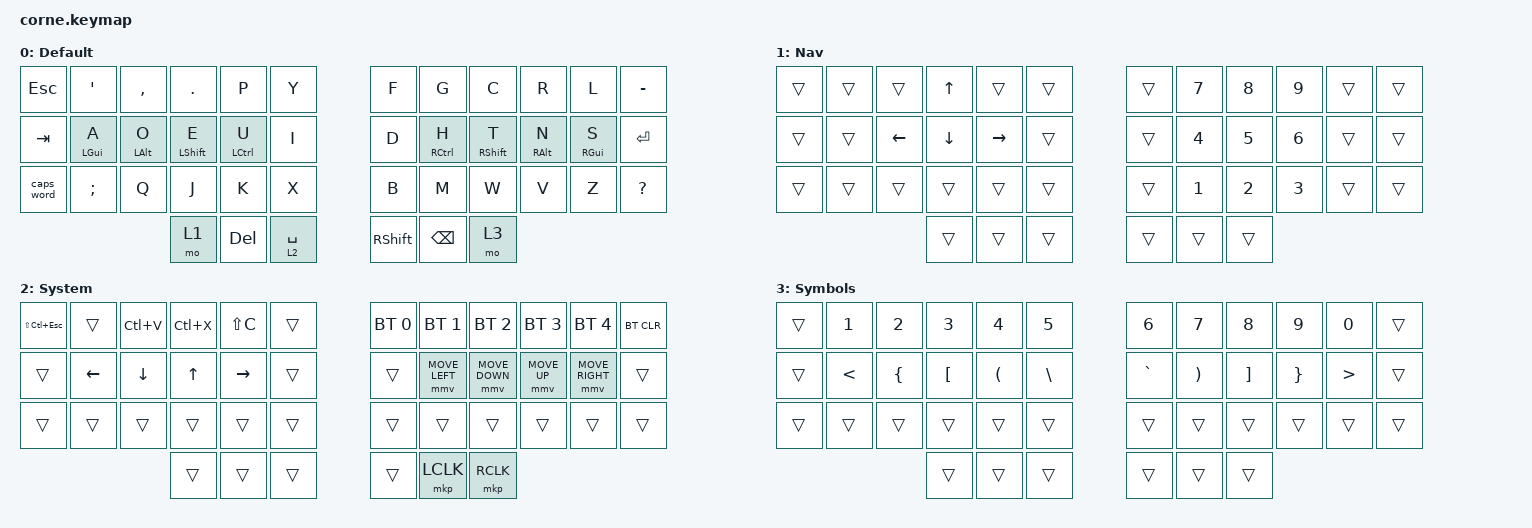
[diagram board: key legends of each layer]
#include <behaviors.dtsi>
#include <dt-bindings/zmk/bt.h>
#include <dt-bindings/zmk/keys.h>


// ------------------------------------------------------------------------------------------------------------
//	|	0		|	1		|	2		|	3		|	4		|	5		|		|	6		|	7		|	8		|	9		|	10	|	11	|	
//	|	12	|	13	|	14	|	15	|	16	|	17	|		|	18	|	19	|	20	|	21	|	22	|	23	|	
//	|	24	|	25	|	26	|	27	|	28	|	29	|		|	30	|	31	|	32	|	33	|	34	|	35	|	
//										|	36	|	37	|	38	|		| 39	|	40	|	41  |

/ {
    behaviors {
        hml: homewrow_mods_left {
            compatible = "zmk,behavior-hold-tap";
            label = "HOMEROW_MODS_LEFT_HAND";
            bindings = <&kp>, <&kp>;

            #binding-cells = <2>;
            tapping-term-ms = <250>;
            hold-trigger-key-positions = <6 7 8 9 10 11 18 19 20 21 22 23 30 31 32 33 34 35>;
            flavor = "balanced";
            quick-tap-ms = <175>;
            hold-trigger-on-release;
        };

        hmr: homewrow_mods_right {
            compatible = "zmk,behavior-hold-tap";
            label = "HOMEREOW_MODS_RIGHT";
            bindings = <&kp>, <&kp>;

            #binding-cells = <2>;
            tapping-term-ms = <250>;
            hold-trigger-key-positions = <0 1 2 3 4 5 12 13 14 15 16 17 24 25 26 27 28 29>;
            quick-tap-ms = <175>;
            hold-trigger-on-release;
            flavor = "balanced";
        };

        layr: layr {
            compatible = "zmk,behavior-hold-tap";
            label = "LAYR";
            bindings = <&mo>, <&kp>;

            #binding-cells = <2>;
            tapping-term-ms = <200>;
            hold-trigger-key-positions = <0 1 2 3 4 5 6 7 8 9 10 11 12 13 14 15 16 17 18 19 20 21 22 23 24 25 26 27 28 29 30 31 32 33 34 35>;
        };
    };
		
    keymap {
        compatible = "zmk,keymap";

        Default {
						display-name = "Default";
// ------------------------------------------------------------------------------------------------------------
//   |  ESC  |   '   |   .   |   .   |   P   |   Y   |			|   F   |   G   |   C   |   R   |   L   |   -  |
//   |  TAB  |   A   |   O   |   E   |   U   |   I   |			|   D   |   H   |   T   |   N   |   S   |  ENT |
//   |  ESC  |   ;   |   Q   |   J   |   K   |   X   |			|   B   |   M   |   W   |   V   |   Z   |   ?  |
//													 |  MO1  |  DEL  | SPACE |			| SHIFT |  BAK  |  MO3  |
            bindings = <
	&kp ESC  &kp SQT  &kp COMMA  &kp PERIOD  &kp P  &kp Y			&kp F  &kp G  &kp C  &kp R  &kp L  &kp MINUS  
  &kp TAB  	&hml LGUI A  &hml LALT O  &hml LSHFT E  &hml LCTRL U  &kp I			&kp D  &hmr RCTRL H  &hmr RSHFT T  &hmr RALT N  &hmr RGUI S &kp ENTER
	&caps_word  &kp SEMI  &kp Q 		  &kp J	&kp K   &kp X			&kp B  &kp M  &kp W  &kp V  &kp Z  &kp QUESTION  
													&mo 1  &kp DEL  &layr 2 SPACE			&kp RIGHT_SHIFT  &kp BACKSPACE  &mo 3
            >;
				};

        nav {
						display-name = "Nav";
            bindings = <
	&trans  &trans  &trans    &kp UP    &trans     &trans			&trans  &kp N7  &kp N8  &kp N9  &trans  &trans
	&trans  &trans  &kp LEFT  &kp DOWN  &kp RIGHT  &trans			&trans  &kp N4  &kp N5  &kp N6  &trans  &trans
	&trans  &trans  &trans    &trans    &trans     &trans			&trans  &kp N1  &kp N2  &kp N3  &trans  &trans
														&trans    &trans     &trans			&trans  &trans  &trans
            >;
        };
				
        System {
            display-name = "System";
						bindings = <
&kp LS(LC(ESC))	&trans	&kp LC(V)	&kp LC(X)	&kp LS(C)	&trans			&bt BT_SEL 0	&bt BT_SEL 1	&bt BT_SEL 2	&bt BT_SEL 3	&bt BT_SEL 4	&bt BT_CLR
&trans	&kp LEFT	&kp DOWN	&kp UP_ARROW		&kp RIGHT	&trans			&trans	&mmv MOVE_LEFT	&mmv MOVE_DOWN	&mmv MOVE_UP	&mmv MOVE_RIGHT	&trans
&trans	&trans		&trans		&trans					&trans		&trans			&trans	&trans	&trans	&trans	&trans	&trans
                                   &trans		&trans		&trans			&trans		&mkp LCLK		&mkp RCLK
            >;
        };
				
        Symbols {
            display-name = "Symbols";
            bindings = <
	&trans	&kp N1	&kp N2		&kp N3		&kp N4		&kp N5				&kp N6			&kp N7		&kp N8		&kp N9		&kp N0		&trans
	&trans  &kp LT  &kp LBRC  &kp LBKT  &kp LPAR  &kp BSLH			&kp GRAVE		&kp RPAR  &kp RBKT  &kp RBRC  &kp GT		&trans
	&trans  &trans	&trans		&trans		&trans		&trans				&trans			&trans			&trans		&trans		&trans		&trans
														 &trans		&trans		&trans				&trans			&trans			&trans
            >;
        };
    };
};
						
